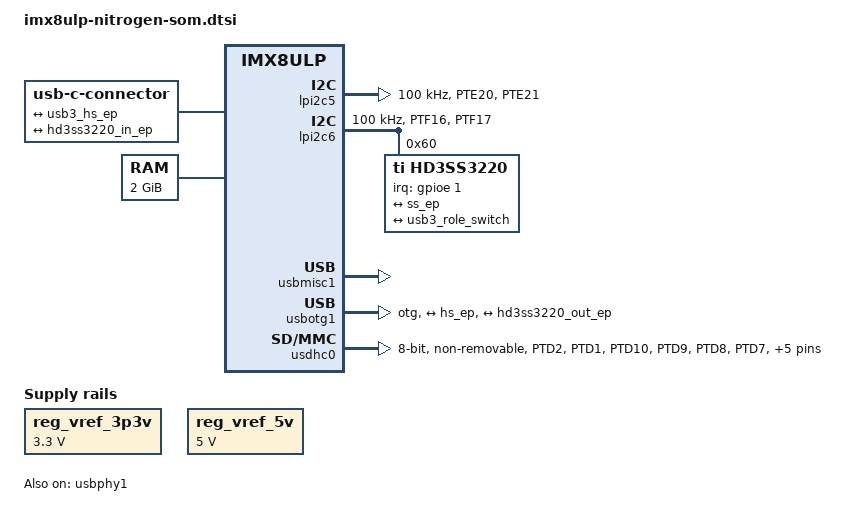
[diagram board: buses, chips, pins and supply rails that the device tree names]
// SPDX-License-Identifier: (GPL-2.0 OR MIT)
/*
 * Copyright 2024 Ezurio LLC
 */
#include <dt-bindings/input/linux-event-codes.h>
#include "imx8ulp.dtsi"

/ {
	chosen {
		rng-seed = <0x01 0x02 0x03 0x04 0x05 0x06>;
	};

	connector {
		compatible = "usb-c-connector";
		label = "USB-C";
		data-role = "dual";

		ports {
			#address-cells = <1>;
			#size-cells = <0>;

			port@0 {
				reg = <0>;
				hs_ep: endpoint {
					remote-endpoint = <&usb3_hs_ep>;
				};
			};

			port@1 {
				reg = <1>;
				ss_ep: endpoint {
					remote-endpoint = <&hd3ss3220_in_ep>;
				};
			};
		};
	};

	memory@80000000 {
		device_type = "memory";
		reg = <0x0 0x80000000 0 0x80000000>;
	};

	reg_vref_3p3v: regulator-vref-3p3v {
		compatible = "regulator-fixed";
		regulator-name = "vref-3p3v";
		regulator-min-microvolt = <3300000>;
		regulator-max-microvolt = <3300000>;
	};

	reg_vref_5v: regulator-vref-5v {
		compatible = "regulator-fixed";
		regulator-name = "vref-5v";
		regulator-min-microvolt = <5000000>;
		regulator-max-microvolt = <5000000>;
	};

	reserved-memory {
		#address-cells = <2>;
		#size-cells = <2>;
		ranges;

		linux,cma {
			compatible = "shared-dma-pool";
			reusable;
			size = <0 0x28000000>;
			linux,cma-default;
		};
	};

};

&iomuxc1 {
	pinctrl-names = "default";
	pinctrl-0 = <&pinctrl_hog_som>;

	pinctrl_hog_som: hog-somgrp {
		fsl,pins = <
			MX8ULP_PAD_PTF29__PTF29		0x7	/* pmic_mode0 */
			MX8ULP_PAD_PTF30__PTF30		0x7	/* pmic_mode1 */
			MX8ULP_PAD_PTF31__PTF31		0x7	/* pmic_mode2 */
			MX8ULP_PAD_PTF27__PTF27		0x7
		>;
	};

	pinctrl_lpi2c5: lpi2c5grp {
		fsl,pins = <
			MX8ULP_PAD_PTE20__LPI2C5_SCL	0x27
			MX8ULP_PAD_PTE21__LPI2C5_SDA	0x27
		>;
	};

	pinctrl_lpi2c6: lpi2c6grp {
		fsl,pins = <
			MX8ULP_PAD_PTF16__LPI2C6_SCL	0x27
			MX8ULP_PAD_PTF17__LPI2C6_SDA	0x27
		>;
	};

	pinctrl_lpi2c6_haptics: lpi2c6-hapticsgrp {
		fsl,pins = <
			MX8ULP_PAD_PTD11__PTD11		0x02
		>;
	};

	pinctrl_lpi2c6_hd3ss3220: lpi2c6-hd3ss3220grp {
		fsl,pins = <
			MX8ULP_PAD_PTE1__PTE1		0x7
			/* id pin, not needed */
			MX8ULP_PAD_PTD12__PTD12		0x3
		>;
	};

	pinctrl_usdhc0: usdhc0grp {
		fsl,pins = <
			MX8ULP_PAD_PTD2__SDHC0_CLK	0x10002
			MX8ULP_PAD_PTD1__SDHC0_CMD	0x3
			MX8ULP_PAD_PTD10__SDHC0_D0	0x3
			MX8ULP_PAD_PTD9__SDHC0_D1	0x3
			MX8ULP_PAD_PTD8__SDHC0_D2	0x3
			MX8ULP_PAD_PTD7__SDHC0_D3	0x3
			MX8ULP_PAD_PTD6__SDHC0_D4	0x3
			MX8ULP_PAD_PTD5__SDHC0_D5	0x3
			MX8ULP_PAD_PTD4__SDHC0_D6	0x3
			MX8ULP_PAD_PTD3__SDHC0_D7	0x3
			MX8ULP_PAD_PTD0__SDHC0_RESET_B  0x3
		>;
	};
};

&lpi2c5 {
	#address-cells = <1>;
	#size-cells = <0>;
	clock-frequency = <100000>;
	pinctrl-names = "default", "sleep";
	pinctrl-0 = <&pinctrl_lpi2c5>;
	pinctrl-1 = <&pinctrl_lpi2c5>;
	status = "okay";
};

&lpi2c6 {
	#address-cells = <1>;
	#size-cells = <0>;
	clock-frequency = <100000>;
	pinctrl-names = "default", "sleep";
	pinctrl-0 = <&pinctrl_lpi2c6>;
	pinctrl-1 = <&pinctrl_lpi2c6>;
	status = "okay";

	hd3ss3220@60 {
		/* tusb320 is compatible with hd3ss3220 */
		compatible = "ti,hd3ss3220";
		interrupts-extended = <&gpioe 1 IRQ_TYPE_LEVEL_LOW>;
		pinctrl-names = "default";
		pinctrl-0 = <&pinctrl_lpi2c6_hd3ss3220>;
		reg = <0x60>;

		ports {
			#address-cells = <1>;
			#size-cells = <0>;

			port@0 {
				reg = <0>;
				hd3ss3220_in_ep: endpoint {
					remote-endpoint = <&ss_ep>;
				};
			};

			port@1 {
				reg = <1>;
				hd3ss3220_out_ep: endpoint {
					remote-endpoint = <&usb3_role_switch>;
				};
			};
		};
	};
};

&usbmisc1 {
	status = "okay";
};

&usbotg1 {
	dr_mode = "otg";
	status = "okay";
	usb-role-switch;

	ports {
		#address-cells = <1>;
		#size-cells = <0>;

		port@0 {
			reg = <0>;
			usb3_hs_ep: endpoint {
				remote-endpoint = <&hs_ep>;
			};
		};

		port@1 {
			reg = <1>;
			usb3_role_switch: endpoint {
				remote-endpoint = <&hd3ss3220_out_ep>;
			};
		};
	};
};

&usbphy1 {
	fsl,tx-d-cal = <88>;
	status = "okay";
};

&usdhc0 {
	bus-width = <8>;
	no-mmc-hs400;
	non-removable;
	pinctrl-names = "default", "state_100mhz", "state_200mhz";
	pinctrl-0 = <&pinctrl_usdhc0>;
	pinctrl-1 = <&pinctrl_usdhc0>;
	pinctrl-2 = <&pinctrl_usdhc0>;
	status = "okay";
};
